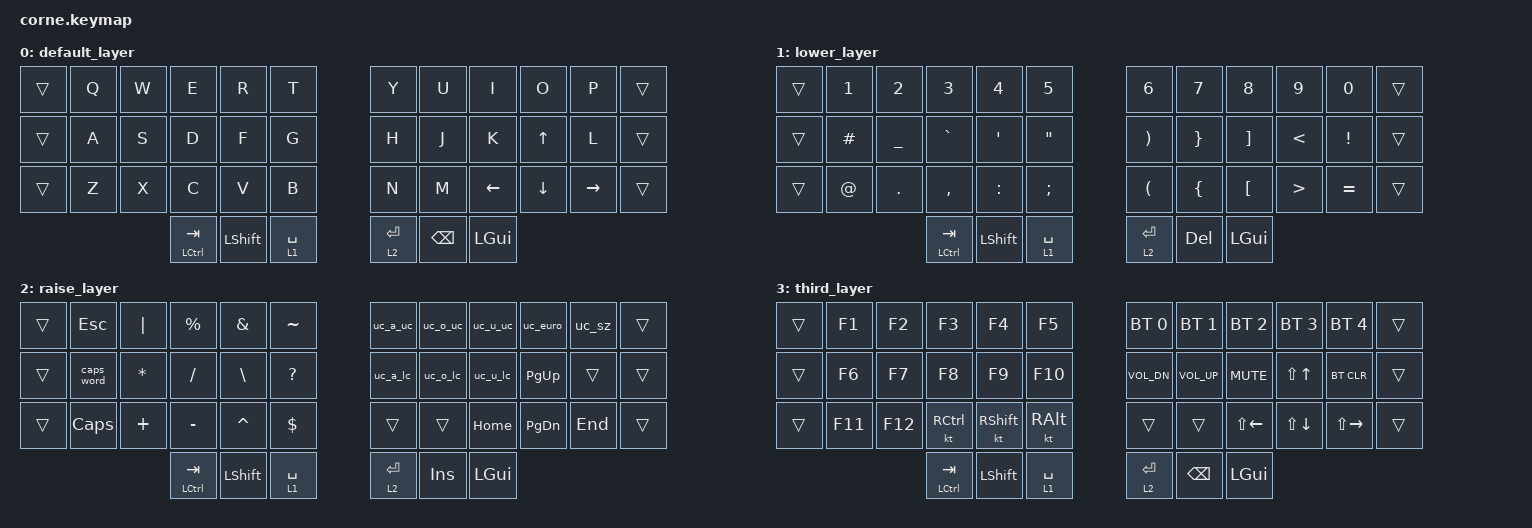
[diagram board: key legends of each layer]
/*
 * Copyright (c) 2020 The ZMK Contributors
 *
 * SPDX-License-Identifier: MIT
 */

#include <behaviors.dtsi>
#include <dt-bindings/zmk/keys.h>
#include <dt-bindings/zmk/bt.h>

/ {
    conditional_layers {
        compatible = "zmk,conditional-layers";
        tri_layer {
            if-layers = <1 2>;
            then-layer = <3>;
        };
    };
};
/ {
    macros {
        uc_a_uc: uc_a_uc {
            label = "uc_a_uc";wait-ms = <0>;tap-ms = <1>;compatible = "zmk,behavior-macro";
            #binding-cells = <0>;
            bindings = <&kp LS(LC(U)) &kp N0 &kp N0 &kp C &kp N4 &kp SPACE>;
        };
        uc_a_lc: uc_a_lc {
            label = "uc_a_lc";wait-ms = <0>;tap-ms = <1>;compatible = "zmk,behavior-macro";
            #binding-cells = <0>;
            bindings = <&kp LS(LC(U)) &kp N0 &kp N0 &kp E &kp N4 &kp SPACE>;
        };
        uc_o_uc: uc_o_uc {
            label = "uc_o_uc";wait-ms = <0>;tap-ms = <1>;compatible = "zmk,behavior-macro";
            #binding-cells = <0>;
            bindings = <&kp LS(LC(U)) &kp N0 &kp N0 &kp D &kp N6 &kp SPACE>;
        };
        uc_o_lc: uc_o_lc {
            label = "uc_o_lc";wait-ms = <0>;tap-ms = <1>;compatible = "zmk,behavior-macro";
            #binding-cells = <0>;
            bindings = <&kp LS(LC(U)) &kp N0 &kp N0 &kp F &kp N6 &kp SPACE>;
        };
        uc_u_uc: uc_u_uc {
            label = "uc_u_uc";wait-ms = <0>;tap-ms = <1>;compatible = "zmk,behavior-macro";
            #binding-cells = <0>;
            bindings = <&kp LS(LC(U)) &kp N0 &kp N0 &kp D &kp C &kp SPACE>;
        };
        uc_u_lc: uc_u_lc {
            label = "uc_u_lc";wait-ms = <0>;tap-ms = <1>;compatible = "zmk,behavior-macro";
            #binding-cells = <0>;
            bindings = <&kp LS(LC(U)) &kp N0 &kp N0 &kp F &kp C &kp SPACE>;
        };
        uc_euro: uc_euro {
            label = "uc_euro";wait-ms = <0>;tap-ms = <1>;compatible = "zmk,behavior-macro";
            #binding-cells = <0>;
            bindings = <&kp LS(LC(U)) &kp N2 &kp N0 &kp A &kp C &kp SPACE>;
        };
        uc_sz: uc_sz {
            label = "uc_sz";wait-ms = <0>;tap-ms = <1>;compatible = "zmk,behavior-macro";
            #binding-cells = <0>;
            bindings = <&kp LS(LC(U)) &kp N0 &kp N0 &kp D &kp F &kp SPACE>;
        };
    };
};
/ {
        keymap {
                compatible = "zmk,keymap";

                default_layer {
                        bindings = <
&trans  &kp Q  &kp W  &kp E &kp R &kp T     &kp Y &kp U  &kp I  &kp O   &kp P    &trans  
&trans  &kp A  &kp S  &kp D &kp F &kp G     &kp H &kp J  &kp K  &kp UP  &kp L    &trans  
&trans  &kp Z  &kp X  &kp C &kp V &kp B     &kp N &kp M  &kp LEFT  &kp DOWN  &kp RIGHT    &trans  
&mt LCTRL TAB  &kp LSHFT &lt  1 SPACE    &lt  2 RET    &kp BSPC &kp LGUI  

                        >;
                };
                lower_layer {

                        bindings = <

&trans  &kp N1  &kp N2  &kp N3 &kp N4 &kp N5                  &kp N6 &kp N7  &kp N8  &kp N9  &kp N0   &trans  
&trans  &kp HASH  &kp UNDER  &kp GRAVE &kp SQT &kp DQT        &kp RPAR &kp RBRC  &kp RBKT  &kp  LT &kp EXCL    &trans  
&trans  &kp AT  &kp DOT  &kp COMMA &kp COLON &kp SEMI           &kp LPAR &kp LBRC  &kp LBKT  &kp GT  &kp EQUAL    &trans  
&mt LCTRL TAB  &kp LSHFT &lt  1 SPACE    &lt  2 RET    &kp DEL &kp  LGUI  

                        >;
                };

                raise_layer {
                        bindings = <
&trans  &kp ESC  &kp PIPE  &kp PRCNT &kp AMPS &kp TILDE          &uc_a_uc &uc_o_uc &uc_u_uc &uc_euro &uc_sz   &trans  
&trans  &caps_word &kp ASTRK  &kp SLASH &kp BSLH &kp QMARK       &uc_a_lc &uc_o_lc &uc_u_lc &kp PG_UP &trans    &trans  
&trans  &kp CAPS    &kp PLUS  &kp MINUS &kp CARET &kp DOLLAR           &trans &trans &kp HOME &kp PG_DN  &kp END    &trans  
&mt LCTRL TAB  &kp LSHFT &lt  1 SPACE    &lt  2 RET    &kp INS &kp LGUI  

                        >;
                };

                third_layer {

                        bindings = <
&trans  &kp F1  &kp F2  &kp F3 &kp F4 &kp F5             &bt BT_SEL 0  &bt BT_SEL 1 &bt BT_SEL 2 &bt BT_SEL 3 &bt BT_SEL 4  &trans  
&trans  &kp F6  &kp F7  &kp F8 &kp F9 &kp F10            &kp C_VOL_DN &kp C_VOL_UP &kp C_MUTE  &kp LS(UP)   &bt BT_CLR &trans  
&trans  &kp F11 &kp F12 &kt RCTRL &kt RSHFT &kt RALT     &trans &trans &kp LS(LEFT) &kp LS(DOWN)  &kp LS(RIGHT)  &trans  
&mt LCTRL TAB  &kp LSHFT &lt  1 SPACE    &lt  2 RET    &kp BSPC &kp LGUI  
                        >;
                };
        };
};
